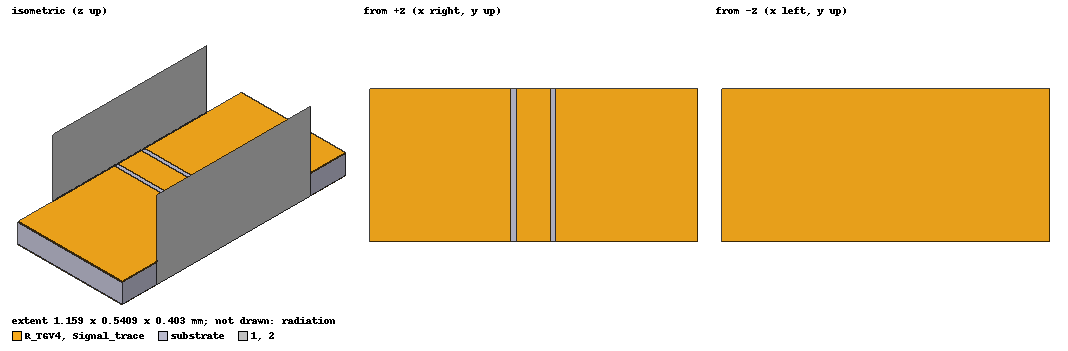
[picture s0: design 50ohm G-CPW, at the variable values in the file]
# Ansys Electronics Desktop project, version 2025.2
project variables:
  $S = 119um  # s/g track width
  $W = (20/119)*$S  # gap width
  $dia_V = 50um  # TGV diameter
  $T_sub = 100um  # substrate thickness
  $L = 540.9um  # length of substrate
  $T_metal = 1.5um  # Metal thickness
  $Port_H = 4*$T_sub+2*$T_metal
  $V_pitch = 120um
  $V_gap = 45.5um
  $Wg = 500um
  $Port_W = 5*($S+2*$W)
  $T_subl = 0
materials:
  vacuum: permittivity=1
  fused silica: permittivity=3.8 dielectric_loss_tangent=0.002 delta_H_freq=90000000000
  gold: permeability=0.99996 conductivity=41000000

design 50ohm G-CPW (HFSS, HFSS Terminal Network, model units mm)
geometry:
  substrate [fused silica] = box(corner=(-($Wg+$W+0.5*$S), -0.5*$L, -($T_sub)), size=(2*$Wg+2*$W+$S, $L, $T_sub))
  Signal_trace [gold] = box(corner=(-0.5*$S, -0.5*$L, 0mm), size=($S, $L, $T_metal))
  G_left = box(corner=(-($Wg+$W+0.5*$S), -0.5*$L, 0mm), size=($Wg, $L, $T_metal))
  G_right = box(corner=(0.5*$S+$W, -0.5*$L, 0mm), size=($Wg, $L, $T_metal))
  G_bottom = box(corner=(-$Wg-$W-0.5*$S, -0.5*$L, -$T_sub), size=(2*($Wg+$W)+$S, $L, -$T_metal))
  L_TGV1 = cylinder(axis=Z, base_centre=(-(0.5*$S+$W+$V_gap+0.5*$dia_V), -(1.5*$V_pitch), -$T_sub), radius=$dia_V/2, height=$T_sub)
  L_TGV2 = cylinder(axis=Z, base_centre=(-(0.5*$S+$W+$V_gap+0.5*$dia_V), -(0.5*$V_pitch), -$T_sub), radius=$dia_V/2, height=$T_sub)
  L_TGV3 = cylinder(axis=Z, base_centre=(-(0.5*$S+$W+$V_gap+0.5*$dia_V), (0.5*$V_pitch), -$T_sub), radius=$dia_V/2, height=$T_sub)
  L_TGV4 = cylinder(axis=Z, base_centre=(-(0.5*$S+$W+$V_gap+0.5*$dia_V), (1.5*$V_pitch), -$T_sub), radius=$dia_V/2, height=$T_sub)
  R_TGV1 = cylinder(axis=Z, base_centre=((0.5*$S+$W+$V_gap+0.5*$dia_V), -(1.5*$V_pitch), -$T_sub), radius=$dia_V/2, height=$T_sub)
  R_TGV2 = cylinder(axis=Z, base_centre=((0.5*$S+$W+$V_gap+0.5*$dia_V), -(0.5*$V_pitch), -$T_sub), radius=$dia_V/2, height=$T_sub)
  R_TGV3 = cylinder(axis=Z, base_centre=((0.5*$S+$W+$V_gap+0.5*$dia_V), (0.5*$V_pitch), -$T_sub), radius=$dia_V/2, height=$T_sub)
  R_TGV4 [gold] = cylinder(axis=Z, base_centre=((0.5*$S+$W+$V_gap+0.5*$dia_V), (1.5*$V_pitch), -$T_sub), radius=$dia_V/2, height=$T_sub)
  1 = rectangle(corner=(-($Port_W*0.5), -0.5*$L, -($T_metal+$T_sub)), z_size=$Port_H, x_size=$Port_W)
  2 = rectangle(corner=(-0.5*$Port_W, 0.5*$L, -($T_metal+$T_sub)), z_size=$Port_H, x_size=$Port_W)
  radiation [vacuum] = box(corner=(-($Wg+$W+0.5*$S), -$L/2, 0mm), size=(2*$Wg+2*$W+$S, $L, 1250um))
  R_TGV4.unite(L_TGV2, L_TGV3, L_TGV4, R_TGV2, R_TGV3)
  R_TGV4.unite(G_bottom)
  R_TGV4.unite(R_TGV1, L_TGV1, G_right, G_left)
  R_TGV4_1 = R_TGV4.copy()
  substrate.subtract(R_TGV4_1)
  R_TGV4_2 = R_TGV4.copy()
  Signal_trace_1 = Signal_trace.copy()
  radiation.subtract(R_TGV4_2, Signal_trace_1)
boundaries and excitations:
  Radiation1: Radiation Faces=radiation.face(+z, +x, -x)
  1: Terminal port=Tr1 Faces=Signal_trace.face(-y) TerminalResistance=50ohm
  2: Terminal port=Tr2 Faces=Signal_trace.face(+y) TerminalResistance=50ohm
  Tr1: Wave Port Faces=1.face WavePortType=Terminal NumModes=1 SpecifiedWaveDirectionFlip
  Tr2: Wave Port Faces=2.face WavePortType=Terminal NumModes=1
  reference conductors: G_bottom
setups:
  SP1: HfssDriven Frequency=120GHz MaxDeltaS=0.02 MaximumPasses=6 MinimumPasses=1 MinimumConvergedPasses=1 PercentRefinement=30 BasisOrder=1 PortAccuracy=2 DrivenSolverType="Direct Solver"
    sweep Sweep: 45GHz to 135GHz, 401 points; Type=Interpolating InterpTolerance=0.5 InterpMaxSolns=250 PassivityErrorTolerance=0.0001
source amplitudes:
  Tr1:1: 1 0deg
  Tr2:1: 0V 0deg
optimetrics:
  ParametricSetup1: Parametric Sim._Setups=[SP1]
    sweep $S: 30um 50um 80um 119um 150um 185um 250um 400um 550um 700um 900um 1100um
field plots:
  Mag_E1, Vector_E1: E Field over substrate.face(+z) on SP1 : LastAdaptive at Freq=120GHz Phase=0deg
  Mag_H1, Vector_H1: H Field over substrate.face(+z) on SP1 : LastAdaptive at Freq=120GHz Phase=0deg
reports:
  Terminal S Parameter Plot5: dB(St(1,1)), dB(St(2,1)), dB(St(1,2)), dB(St(2,2)) vs Freq on SP1 : Sweep [$S=119um $L=540.9um]; markers MX1 at x=6e+10, MX2 at x=9e+10, MX3 at x=1.2e+11
  S21 vs Frequency: dB(St(2,1)) vs Freq on SP1 : Sweep [$S=all $L=540.9um]; markers MX1 at x=9e+10, MX2 at x=6e+10, MX3 at x=1.2e+11
  S21 vs Signal Trace Width: dB(St(2,1)) vs $S on SP1 : Sweep [Freq=60.075GHz,90GHz,120.15GHz,135GHz $L=540.9um]
  Phase Distortion[angle(S21)] vs Frequency: ang_deg(St(2,1)) vs Freq on SP1 : Sweep [$S=all $L=540.9um]; markers MX1 at x=9e+10, MX2 at x=6e+10, MX3 at x=1.2e+11
  Group Delay Dispersion vs Frequency: GroupDelay(2,1) vs Freq on SP1 : Sweep [$S=all $L=540.9um]; markers MX1 at x=9e+10
  Terminal Port Zo Plot2: re(Zot(1,1)), re(Zot(2,2)) vs Freq on SP1 : Sweep [$L=540.9um]
  Terminal S Parameter Plot6: ang_deg(St(2,1)) vs Freq on SP1 : Sweep [$L=540.9um]
  Terminal S Parameter Plot7: ang_deg(St(2,1)) vs Freq on SP1 : Sweep [$S=all $L=540.9um]
  Phase Distortion at W=119u: ang_deg(St(2,1)) vs Freq on SP1 : Sweep [$S=119um $L=540.9um]; markers MX1 at x=9e+10
